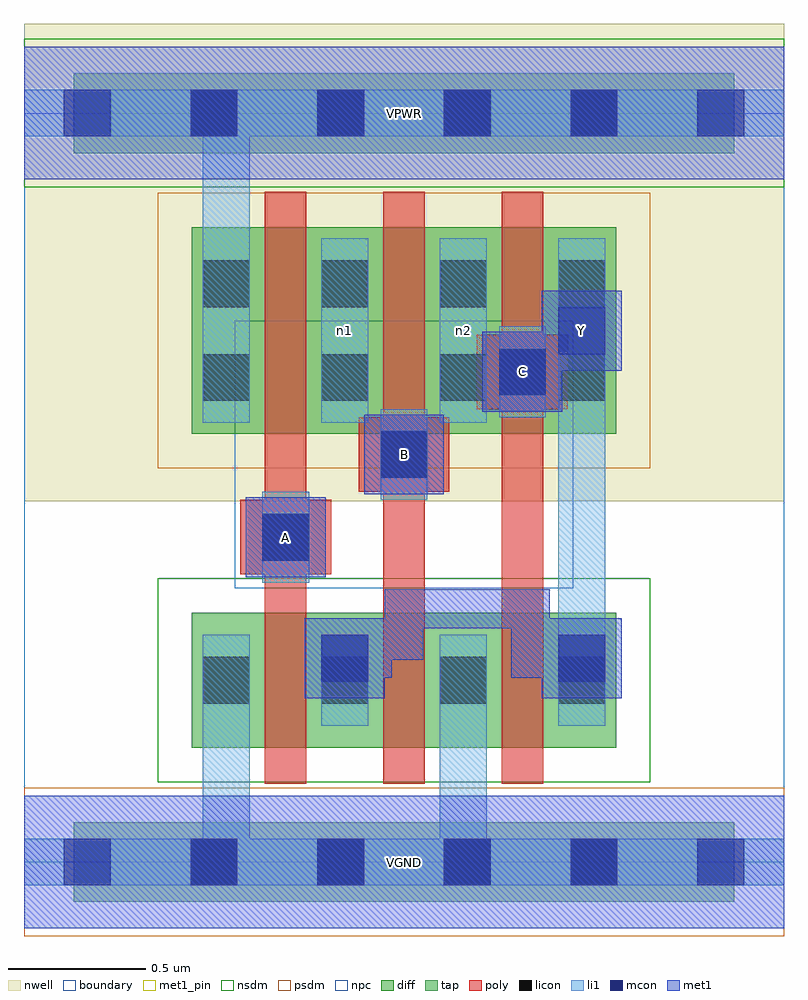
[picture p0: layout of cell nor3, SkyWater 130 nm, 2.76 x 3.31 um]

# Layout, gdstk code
import gdstk
lib = gdstk.Library(unit=1e-6, precision=1e-09)
def R(c, l, rs):  # rectangles x0, y0, x1, y1
    for r in rs: c.add(gdstk.rectangle(r[:2], r[2:], *l))
def A(c, l, x, y, w, h, nx, ny, dx, dy):  # array of equal rectangles
    R(c, l, [(x+i*dx, y+j*dy, x+i*dx+w, y+j*dy+h) for i in range(nx) for j in range(ny)])
nwell = (64, 20)
diff = (65, 20)
tap = (65, 44)
poly = (66, 20)
licon = (66, 44)
li1 = (67, 20)
mcon = (67, 44)
met1_pin = (68, 16)
met1 = (68, 20)
nsdm = (93, 44)
psdm = (94, 20)
npc = (95, 20)
boundary = (235, 4)

nor3 = lib.new_cell('nor3')
R(nor3, nwell, [(0,1.31,2.76,3.045)])
R(nor3, diff, [(0.61,0.415,2.15,0.905), (0.61,1.555,2.15,2.305)])
R(nor3, tap, [(0.18,-0.145,2.58,0.145), (0.18,2.575,2.58,2.865)])
A(nor3, poly, 0.875, 0.285, 0.15, 2.15, 3, 1, 0.43, 0)
R(nor3, poly, [(0.785,1.045,1.115,1.315), (1.215,1.345,1.545,1.615), (1.645,1.645,1.975,1.915)])
A(nor3, licon, 0.605, -0.085, 0.17, 0.17, 4, 2, 0.46, 2.72)
A(nor3, licon, 0.65, 0.575, 0.17, 0.17, 4, 2, 0.43, 1.1)
A(nor3, licon, 0.65, 2.015, 0.17, 0.17, 4, 1, 0.43, 0)
R(nor3, licon, [(0.865,1.095,1.035,1.265), (1.295,1.395,1.465,1.565), (1.725,1.695,1.895,1.865)])
A(nor3, li1, 0.65, 0.495, 0.17, 0.33, 4, 1, 0.43, 0)
A(nor3, li1, 0.65, 1.595, 0.17, 0.67, 4, 1, 0.43, 0)
R(nor3, li1, [(0,-0.085,2.76,0.085), (0.65,-0.085,0.82,0.825), (1.51,-0.085,1.68,0.825), (1.94,0.495,2.11,2.265), (0.865,1.015,1.035,1.345), (1.295,1.315,1.465,1.645), (0.65,1.595,0.82,2.805), (1.725,1.615,1.895,1.945), (0,2.635,2.76,2.805)])
A(nor3, mcon, 0.145, -0.085, 0.17, 0.17, 6, 2, 0.46, 2.72)
R(nor3, mcon, [(1.08,0.655,1.25,0.825), (1.94,0.655,2.11,0.825), (0.865,1.095,1.035,1.265), (1.295,1.395,1.465,1.565), (1.725,1.695,1.895,1.865), (1.94,1.845,2.11,2.015)])
R(nor3, met1_pin, [(0,-0.24,2.76,0.24), (0.805,1.035,1.095,1.325), (1.235,1.335,1.525,1.625), (1.665,1.635,1.955,1.925), (1.88,1.785,2.17,2.075), (0,2.48,2.76,2.96)])
R(nor3, met1, [(0,-0.24,2.76,0.24), (1.02,0.595,1.31,0.885), (1.88,0.595,2.17,0.885), (1.095,0.67,1.335,0.81), (1.195,0.67,1.335,0.875), (1.77,0.67,2.095,0.81), (1.77,0.67,1.91,0.99), (1.195,0.735,1.45,0.875), (1.31,0.735,1.45,0.99), (1.31,0.85,1.91,0.99), (0.805,1.035,1.095,1.325), (1.235,1.335,1.525,1.625), (1.665,1.635,1.955,1.925), (1.88,1.785,2.17,2.075), (0,2.48,2.76,2.96)])
R(nor3, nsdm, [(0.485,0.29,2.275,1.03), (0,2.45,2.76,2.99)])
R(nor3, psdm, [(0,-0.27,2.76,0.27), (0.485,1.43,2.275,2.43)])
R(nor3, npc, [(0.765,0.995,1.995,1.965)])
R(nor3, boundary, [(0,0,2.76,2.72)])
nor3.add(gdstk.Label('n1', (1.165,1.93), layer=67, texttype=5))
nor3.add(gdstk.Label('n2', (1.595,1.93), layer=67, texttype=5))
nor3.add(gdstk.Label('A', (0.95,1.18), layer=68, texttype=5))
nor3.add(gdstk.Label('B', (1.38,1.48), layer=68, texttype=5))
nor3.add(gdstk.Label('C', (1.81,1.78), layer=68, texttype=5))
nor3.add(gdstk.Label('Y', (2.025,1.93), layer=68, texttype=5))
nor3.add(gdstk.Label('VPWR', (1.38,2.72), layer=68, texttype=5))
nor3.add(gdstk.Label('VGND', (1.38,0), layer=68, texttype=5))
nor3.add(gdstk.Label('A', (0.95,1.18), layer=68, texttype=16))
nor3.add(gdstk.Label('B', (1.38,1.48), layer=68, texttype=16))
nor3.add(gdstk.Label('C', (1.81,1.78), layer=68, texttype=16))
nor3.add(gdstk.Label('Y', (2.025,1.93), layer=68, texttype=16))
nor3.add(gdstk.Label('VPWR', (1.38,2.72), layer=68, texttype=16))
nor3.add(gdstk.Label('VGND', (1.38,0), layer=68, texttype=16))

lib.write_gds('nor3.gds')
